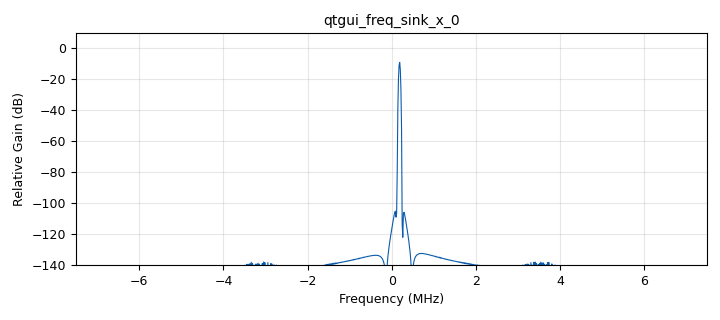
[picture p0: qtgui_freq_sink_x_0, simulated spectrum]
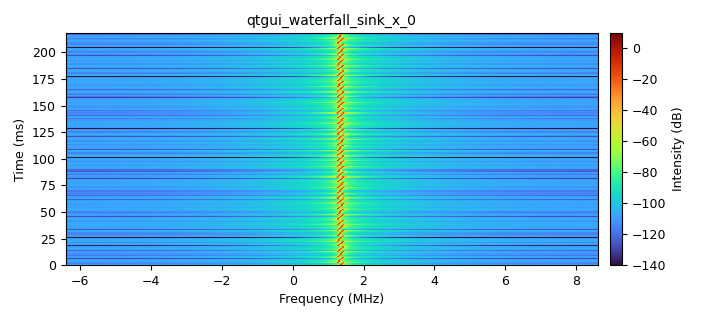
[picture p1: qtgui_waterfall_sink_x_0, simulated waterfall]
options:
  parameters:
    author: mblashki
    generate_options: qt_gui
    id: FMCW_Radar
    output_language: python
    title: Not titled yet
  states: {}

blocks:
- name: CW_Radar_output
  id: pad_sink
  parameters:
    label: out
    type: complex
  states: {state: disabled}
- name: analog_sig_source_x_0_0
  id: analog_sig_source_x
  parameters:
    amp: stop_freq/1000
    freq: sweep_freq
    offset: start_freq/1000
    phase: '0'
    samp_rate: samp_rate
    type: float
    waveform: analog.GR_SAW_WAVE
  states: {}
- name: blocks_throttle_0
  id: blocks_throttle
  parameters:
    samples_per_second: samp_rate
    type: complex
  states: {}
- name: blocks_throttle_0_0
  id: blocks_throttle
  parameters:
    samples_per_second: samp_rate
    type: complex
  states: {}
- name: blocks_vco_c_0
  id: blocks_vco_c
  parameters:
    amplitude: '1'
    samp_rate: samp_rate
    sensitivity: '1000'
  states: {}
- name: qtgui_freq_sink_x_0
  id: qtgui_freq_sink_x
  parameters:
    bw: samp_rate
    ctrlpanel: 'True'
    fc: '0'
    fftsize: '1024'
    type: complex
  states: {}
- name: qtgui_time_sink_x_0
  id: qtgui_time_sink_x
  parameters:
    color1: green
    ctrlpanel: 'True'
    size: '1024'
    srate: samp_rate
    type: complex
    update_time: '0.01'
  states: {state: disabled}
- name: qtgui_waterfall_sink_x_0
  id: qtgui_waterfall_sink_x
  parameters:
    bw: samp_rate
    fc: start_freq + (stop_freq-start_freq)
    fftsize: '16384'
    grid: 'True'
    type: complex
    update_time: '0.1'
    wintype: window.WIN_HAMMING
  states: {}
- name: samp_rate
  id: parameter
  parameters:
    label: Sample Rate
    type: intx
    value: '15_000_000'
  states: {}
- name: start_freq
  id: parameter
  parameters:
    label: Frequency
    type: intx
    value: '1_000_000'
  states: {}
- name: stop_freq
  id: parameter
  parameters:
    label: Frequency
    type: intx
    value: '1_100_000'
  states: {}
- name: sweep_freq
  id: parameter
  parameters:
    label: Frequency
    type: eng_float
    value: '200'
  states: {}

connections:
- [analog_sig_source_x_0_0, '0', blocks_vco_c_0, '0']
- [blocks_throttle_0, '0', qtgui_waterfall_sink_x_0, '0']
- [blocks_throttle_0_0, '0', qtgui_freq_sink_x_0, '0']
- [blocks_vco_c_0, '0', CW_Radar_output, '0']
- [blocks_vco_c_0, '0', blocks_throttle_0, '0']
- [blocks_vco_c_0, '0', blocks_throttle_0_0, '0']
- [blocks_vco_c_0, '0', qtgui_time_sink_x_0, '0']

metadata:
  file_format: 1
